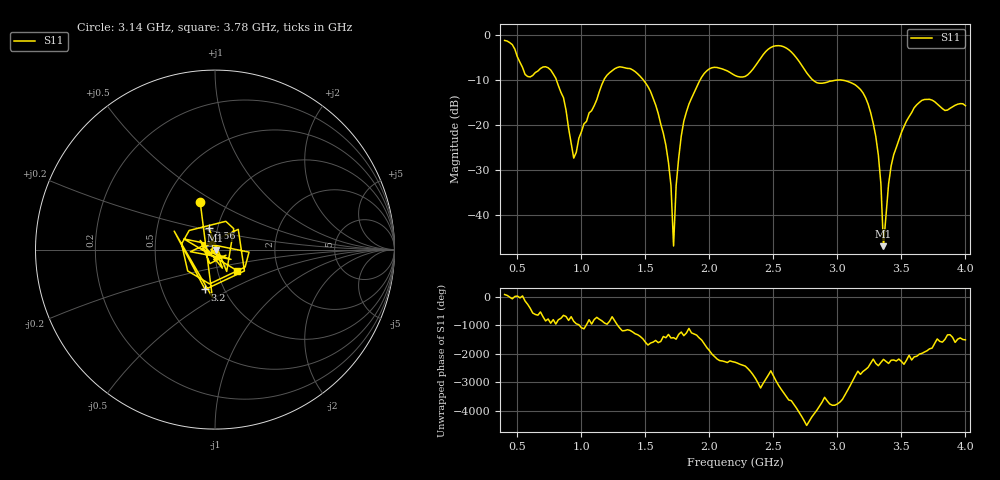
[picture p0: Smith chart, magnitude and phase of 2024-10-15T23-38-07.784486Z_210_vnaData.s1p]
! Created with skrf (http://scikit-rf.org).
# Hz S RI R 50.0
!freq ReS11 ImS11
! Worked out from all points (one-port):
!   181 points, 400 MHz to 4 GHz, reference 50 ohm
!   lowest |S11| = -46.8 dB at 3.36 GHz (marker M1), VSWR 1.01, Z = 50.4 - j0.291 ohm
!   |S11| at or under -10 dB: 805.2 MHz to 1.175 GHz (370 MHz wide, 37.4 % of centre); 1.485 GHz to 1.927 GHz (441.6 MHz wide, 25.9 % of centre); 3.04 GHz to end of sweep (the widest 3 of 4)
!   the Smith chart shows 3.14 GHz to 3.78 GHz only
!   S11 on the Smith chart (normalised r, x): 3.14 GHz: 0.74, +0.43; 3.2 GHz: 0.82, -0.38; 3.56 GHz: 0.91, +0.22; 3.78 GHz: 1.25, -0.30
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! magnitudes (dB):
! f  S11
! 400 MHz  -1.2
! 860 MHz  -13.9
! 940 MHz  -27.3
! 1.18 GHz  -9.7
! 1.3 GHz  -7.0
! 1.48 GHz  -9.8
! 1.6 GHz  -17.4
! 1.68 GHz  -28.2
! 1.7 GHz  -33.4
! 1.72 GHz  -46.8
! 1.74 GHz  -33.4
! 1.76 GHz  -27.3
! 1.82 GHz  -17.1
! 1.94 GHz  -9.3
! 2.2 GHz  -9.0
! 2.5 GHz  -2.5
! 2.66 GHz  -4.3
! 2.84 GHz  -10.6
! 3.1 GHz  -10.5
! 3.14 GHz  -11.0
! 3.2 GHz  -12.8
! 3.32 GHz  -26.6
! 3.34 GHz  -33.0
! 3.36 GHz  -46.8
! 3.42 GHz  -29.0
! 3.56 GHz  -18.1
! 3.78 GHz  -15.3
! 4 GHz  -15.6
